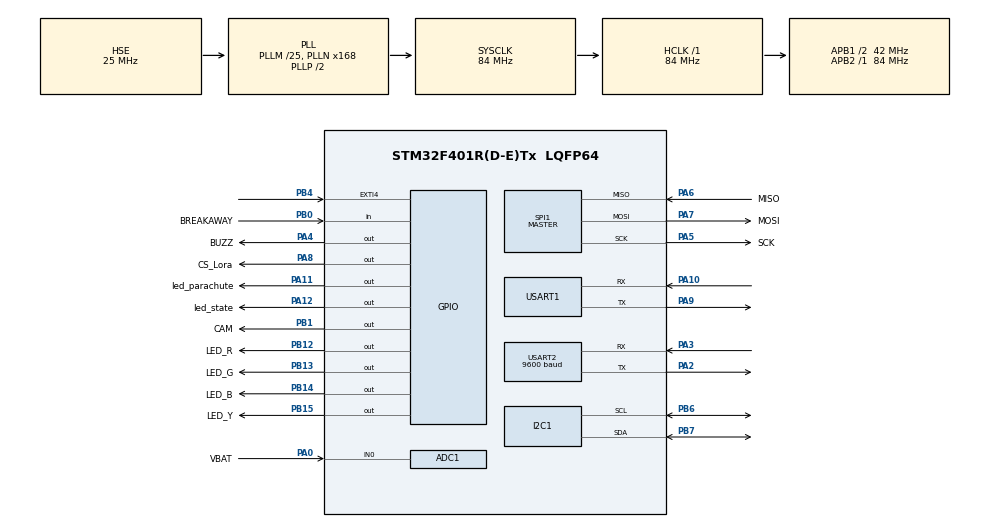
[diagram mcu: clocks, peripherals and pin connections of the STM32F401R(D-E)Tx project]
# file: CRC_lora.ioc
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ADC1.Channel-0\#ChannelRegularConversion=ADC_CHANNEL_0
ADC1.ClockPrescaler=ADC_CLOCK_SYNC_PCLK_DIV8
ADC1.ContinuousConvMode=ENABLE
ADC1.NbrOfConversionFlag=1
ADC1.Rank-0\#ChannelRegularConversion=1
ADC1.SamplingTime-0\#ChannelRegularConversion=ADC_SAMPLETIME_3CYCLES
ADC1.master=1
Dma.I2C1_RX.1.Direction=DMA_PERIPH_TO_MEMORY
Dma.I2C1_RX.1.FIFOMode=DMA_FIFOMODE_DISABLE
Dma.I2C1_RX.1.Instance=DMA1_Stream0
Dma.I2C1_RX.1.MemDataAlignment=DMA_MDATAALIGN_BYTE
Dma.I2C1_RX.1.MemInc=DMA_MINC_ENABLE
Dma.I2C1_RX.1.Mode=DMA_NORMAL
Dma.I2C1_RX.1.PeriphDataAlignment=DMA_PDATAALIGN_BYTE
Dma.I2C1_RX.1.PeriphInc=DMA_PINC_DISABLE
Dma.I2C1_RX.1.Priority=DMA_PRIORITY_LOW
Dma.Request0=USART2_RX
Dma.Request1=I2C1_RX
Dma.USART2_RX.0.Direction=DMA_PERIPH_TO_MEMORY
Dma.USART2_RX.0.FIFOMode=DMA_FIFOMODE_DISABLE
Dma.USART2_RX.0.Instance=DMA1_Stream5
Dma.USART2_RX.0.MemDataAlignment=DMA_MDATAALIGN_BYTE
Dma.USART2_RX.0.MemInc=DMA_MINC_ENABLE
Dma.USART2_RX.0.Mode=DMA_CIRCULAR
Dma.USART2_RX.0.PeriphDataAlignment=DMA_PDATAALIGN_BYTE
Dma.USART2_RX.0.PeriphInc=DMA_PINC_DISABLE
Dma.USART2_RX.0.Priority=DMA_PRIORITY_LOW
Mcu.Family=STM32F4
Mcu.Name=STM32F401R(D-E)Tx
Mcu.Package=LQFP64
NVIC.DMA1_Stream0_IRQn=true\:0\:0\:false\:false\:true\:false\:true\:true
NVIC.DMA1_Stream5_IRQn=true\:0\:0\:false\:false\:true\:false\:true\:true
NVIC.I2C1_EV_IRQn=true\:0\:0\:false\:false\:true\:true\:true\:true
NVIC.PriorityGroup=NVIC_PRIORITYGROUP_4
NVIC.TIM3_IRQn=true\:1\:0\:true\:false\:true\:true\:true\:true
NVIC.USART1_IRQn=true\:0\:0\:false\:false\:true\:true\:true\:true
NVIC.USART2_IRQn=true\:0\:0\:false\:false\:true\:true\:true\:true
PA0-WKUP.GPIO_Label=VBAT
PA0-WKUP.Signal=ADCx_IN0
PA10.Mode=Asynchronous
PA10.Signal=USART1_RX
PA11.GPIO_Label=led_parachute
PA11.Signal=GPIO_Output
PA12.GPIO_Label=led_state
PA12.Signal=GPIO_Output
PA13.Mode=Serial_Wire
PA13.Signal=SYS_JTMS-SWDIO
PA14.Mode=Serial_Wire
PA14.Signal=SYS_JTCK-SWCLK
PA2.Mode=Asynchronous
PA2.Signal=USART2_TX
PA3.Mode=Asynchronous
PA3.Signal=USART2_RX
PA4.GPIO_Label=BUZZ
PA4.Signal=GPIO_Output
PA5.GPIO_Label=SCK
PA5.Mode=Full_Duplex_Master
PA5.Signal=SPI1_SCK
PA6.GPIO_Label=MISO
PA6.Mode=Full_Duplex_Master
PA6.Signal=SPI1_MISO
PA7.GPIO_Label=MOSI
PA7.Mode=Full_Duplex_Master
PA7.Signal=SPI1_MOSI
PA8.GPIO_Label=CS_Lora
PA8.PinState=GPIO_PIN_SET
PA8.Signal=GPIO_Output
PA9.Mode=Asynchronous
PA9.Signal=USART1_TX
PB0.GPIO_Label=BREAKAWAY
PB0.GPIO_PuPd=GPIO_PULLUP
PB0.Signal=GPIO_Input
PB1.GPIO_Label=CAM
PB1.Signal=GPIO_Output
PB12.GPIO_Label=LED_R
PB12.Signal=GPIO_Output
PB13.GPIO_Label=LED_G
PB13.Signal=GPIO_Output
PB14.GPIO_Label=LED_B
PB14.Signal=GPIO_Output
PB15.GPIO_Label=LED_Y
PB15.Signal=GPIO_Output
PB4.Signal=GPXTI4
PB6.GPIO_Pu=GPIO_PULLUP
PB6.Mode=I2C
PB6.Signal=I2C1_SCL
PB7.GPIO_Pu=GPIO_PULLUP
PB7.Mode=I2C
PB7.Signal=I2C1_SDA
PH0\ -\ OSC_IN.Mode=HSE-External-Oscillator
PH0\ -\ OSC_IN.Signal=RCC_OSC_IN
PH1\ -\ OSC_OUT.Mode=HSE-External-Oscillator
PH1\ -\ OSC_OUT.Signal=RCC_OSC_OUT
ProjectManager.HeapSize=0x200
ProjectManager.StackSize=0x400
ProjectManager.TargetToolchain=STM32CubeIDE
RCC.48MHZClocksFreq_Value=42000000
RCC.AHBFreq_Value=84000000
RCC.APB1CLKDivider=RCC_HCLK_DIV2
RCC.APB1Freq_Value=42000000
RCC.APB1TimFreq_Value=84000000
RCC.APB2Freq_Value=84000000
RCC.APB2TimFreq_Value=84000000
RCC.CortexFreq_Value=84000000
RCC.HCLKFreq_Value=84000000
RCC.HSE_VALUE=25000000
RCC.HSI_VALUE=16000000
RCC.LSE_VALUE=32768
RCC.PLLM=25
RCC.PLLN=168
RCC.PLLSourceVirtual=RCC_PLLSOURCE_HSE
RCC.SYSCLKFreq_VALUE=84000000
RCC.SYSCLKSource=RCC_SYSCLKSOURCE_PLLCLK
RCC.VCOOutputFreq_Value=168000000
SH.ADCx_IN0.0=ADC1_IN0,IN0
SPI1.BaudRatePrescaler=SPI_BAUDRATEPRESCALER_8
SPI1.Direction=SPI_DIRECTION_2LINES
SPI1.Mode=SPI_MODE_MASTER
SPI1.VirtualType=VM_MASTER
TIM3.Channel-PWM\ Generation3\ CH3=TIM_CHANNEL_3
TIM3.Period=19999
TIM3.Prescaler=83
USART1.VirtualMode=VM_ASYNC
USART2.BaudRate=9600
USART2.VirtualMode=VM_ASYNC
VP_TIM3_VS_ClockSourceINT.Mode=Internal
board=custom

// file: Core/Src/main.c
/* USER CODE BEGIN Header */
/**
  ******************************************************************************
  * @file           : main.c
  * @brief          : Main program body
  ******************************************************************************
  * @attention
  *
  * Copyright (c) 2026 STMicroelectronics.
  * All rights reserved.
  *
  * This software is licensed under terms that can be found in the LICENSE file
  * in the root directory of this software component.
  * If no LICENSE file comes with this software, it is provided AS-IS.
  *
  ******************************************************************************
  */
/* USER CODE END Header */
#include "main.h"

/* USER CODE BEGIN Includes */
#include "FlightComputer.h"
#include <string.h>
#include <stdio.h>

#include "minmea.h"
#include "gps.h"
/* USER CODE END Includes */

ADC_HandleTypeDef hadc1;

I2C_HandleTypeDef hi2c1;
DMA_HandleTypeDef hdma_i2c1_rx;

SPI_HandleTypeDef hspi1;

TIM_HandleTypeDef htim3;

UART_HandleTypeDef huart1;
UART_HandleTypeDef huart2;
DMA_HandleTypeDef hdma_usart2_rx;

/* USER CODE BEGIN PV */
char gps_line[MINMEA_MAX_SENTENCE_LENGTH];
uint8_t gps_char;
uint8_t gps_idx = 0;

uint32_t time_buff;
uint32_t time_diff;

uint8_t read_data[128];
uint8_t received_data[128];
uint8_t bytesRecv = 0;
uint8_t parachuteCnt = 0;

#define GPS_BUF_SIZE 128
uint8_t gps_raw_data[GPS_BUF_SIZE];

FlightComputer flight_computer;

uint8_t uart_rx_buffer[40] = {0};
volatile uint8_t new_data_flag = 0;
/* USER CODE END PV */

void SystemClock_Config(void);
static void MX_GPIO_Init(void);
static void MX_DMA_Init(void);
static void MX_SPI1_Init(void);
static void MX_USART1_UART_Init(void);
static void MX_I2C1_Init(void);
static void MX_USART2_UART_Init(void);
static void MX_TIM3_Init(void);
static void MX_ADC1_Init(void);

int main(void)
{

  /* MCU Configuration--------------------------------------------------------*/

  /* Reset of all peripherals, Initializes the Flash interface and the Systick. */
  HAL_Init();

  /* Configure the system clock */
  SystemClock_Config();

  /* Initialize all configured peripherals */
  MX_GPIO_Init();
  MX_DMA_Init();
  MX_SPI1_Init();
  MX_USART1_UART_Init();
  MX_I2C1_Init();
  MX_USART2_UART_Init();
  MX_TIM3_Init();
  MX_ADC1_Init();
  /* USER CODE BEGIN 2 */
  HAL_GPIO_WritePin(led_state_GPIO_Port, led_state_Pin, GPIO_PIN_SET);
  HAL_Delay(1000);
  FlightComputer_init(&flight_computer, &hspi1, CS_Lora_GPIO_Port, CS_Lora_Pin, &hi2c1, &hadc1, &huart1, &huart2);
  HAL_GPIO_WritePin(led_state_GPIO_Port, led_state_Pin, GPIO_PIN_RESET);

  /* USER CODE END 2 */

  /* Infinite loop */
  /* USER CODE BEGIN WHILE */
  while (1)
  {
	  FlightComputer_loop(&flight_computer);

    /* USER CODE END WHILE */

  }
}

void SystemClock_Config(void)
{
  RCC_OscInitTypeDef RCC_OscInitStruct = {0};
  RCC_ClkInitTypeDef RCC_ClkInitStruct = {0};

  /** Configure the main internal regulator output voltage
  */
  __HAL_RCC_PWR_CLK_ENABLE();
  __HAL_PWR_VOLTAGESCALING_CONFIG(PWR_REGULATOR_VOLTAGE_SCALE2);

  /** Initializes the RCC Oscillators according to the specified parameters
  * in the RCC_OscInitTypeDef structure.
  */
  RCC_OscInitStruct.OscillatorType = RCC_OSCILLATORTYPE_HSE;
  RCC_OscInitStruct.HSEState = RCC_HSE_ON;
  RCC_OscInitStruct.PLL.PLLState = RCC_PLL_ON;
  RCC_OscInitStruct.PLL.PLLSource = RCC_PLLSOURCE_HSE;
  RCC_OscInitStruct.PLL.PLLM = 25;
  RCC_OscInitStruct.PLL.PLLN = 168;
  RCC_OscInitStruct.PLL.PLLP = RCC_PLLP_DIV2;
  RCC_OscInitStruct.PLL.PLLQ = 4;
  if (HAL_RCC_OscConfig(&RCC_OscInitStruct) != HAL_OK)
  {
    Error_Handler();
  }

  /** Initializes the CPU, AHB and APB buses clocks
  */
  RCC_ClkInitStruct.ClockType = RCC_CLOCKTYPE_HCLK|RCC_CLOCKTYPE_SYSCLK
                              |RCC_CLOCKTYPE_PCLK1|RCC_CLOCKTYPE_PCLK2;
  RCC_ClkInitStruct.SYSCLKSource = RCC_SYSCLKSOURCE_PLLCLK;
  RCC_ClkInitStruct.AHBCLKDivider = RCC_SYSCLK_DIV1;
  RCC_ClkInitStruct.APB1CLKDivider = RCC_HCLK_DIV2;
  RCC_ClkInitStruct.APB2CLKDivider = RCC_HCLK_DIV1;

  if (HAL_RCC_ClockConfig(&RCC_ClkInitStruct, FLASH_LATENCY_2) != HAL_OK)
  {
    Error_Handler();
  }
}

static void MX_ADC1_Init(void)
{

  ADC_ChannelConfTypeDef sConfig = {0};

  /** Configure the global features of the ADC (Clock, Resolution, Data Alignment and number of conversion)
  */
  hadc1.Instance = ADC1;
  hadc1.Init.ClockPrescaler = ADC_CLOCK_SYNC_PCLK_DIV8;
  hadc1.Init.Resolution = ADC_RESOLUTION_12B;
  hadc1.Init.ScanConvMode = DISABLE;
  hadc1.Init.ContinuousConvMode = ENABLE;
  hadc1.Init.DiscontinuousConvMode = DISABLE;
  hadc1.Init.ExternalTrigConvEdge = ADC_EXTERNALTRIGCONVEDGE_NONE;
  hadc1.Init.ExternalTrigConv = ADC_SOFTWARE_START;
  hadc1.Init.DataAlign = ADC_DATAALIGN_RIGHT;
  hadc1.Init.NbrOfConversion = 1;
  hadc1.Init.DMAContinuousRequests = DISABLE;
  hadc1.Init.EOCSelection = ADC_EOC_SINGLE_CONV;
  if (HAL_ADC_Init(&hadc1) != HAL_OK)
  {
    Error_Handler();
  }

  /** Configure for the selected ADC regular channel its corresponding rank in the sequencer and its sample time.
  */
  sConfig.Channel = ADC_CHANNEL_0;
  sConfig.Rank = 1;
  sConfig.SamplingTime = ADC_SAMPLETIME_3CYCLES;
  if (HAL_ADC_ConfigChannel(&hadc1, &sConfig) != HAL_OK)
  {
    Error_Handler();
  }

}

static void MX_I2C1_Init(void)
{

  hi2c1.Instance = I2C1;
  hi2c1.Init.ClockSpeed = 100000;
  hi2c1.Init.DutyCycle = I2C_DUTYCYCLE_2;
  hi2c1.Init.OwnAddress1 = 0;
  hi2c1.Init.AddressingMode = I2C_ADDRESSINGMODE_7BIT;
  hi2c1.Init.DualAddressMode = I2C_DUALADDRESS_DISABLE;
  hi2c1.Init.OwnAddress2 = 0;
  hi2c1.Init.GeneralCallMode = I2C_GENERALCALL_DISABLE;
  hi2c1.Init.NoStretchMode = I2C_NOSTRETCH_DISABLE;
  if (HAL_I2C_Init(&hi2c1) != HAL_OK)
  {
    Error_Handler();
  }

}

static void MX_SPI1_Init(void)
{

  /* SPI1 parameter configuration*/
  hspi1.Instance = SPI1;
  hspi1.Init.Mode = SPI_MODE_MASTER;
  hspi1.Init.Direction = SPI_DIRECTION_2LINES;
  hspi1.Init.DataSize = SPI_DATASIZE_8BIT;
  hspi1.Init.CLKPolarity = SPI_POLARITY_LOW;
  hspi1.Init.CLKPhase = SPI_PHASE_1EDGE;
  hspi1.Init.NSS = SPI_NSS_SOFT;
  hspi1.Init.BaudRatePrescaler = SPI_BAUDRATEPRESCALER_8;
  hspi1.Init.FirstBit = SPI_FIRSTBIT_MSB;
  hspi1.Init.TIMode = SPI_TIMODE_DISABLE;
  hspi1.Init.CRCCalculation = SPI_CRCCALCULATION_DISABLE;
  hspi1.Init.CRCPolynomial = 10;
  if (HAL_SPI_Init(&hspi1) != HAL_OK)
  {
    Error_Handler();
  }

}

static void MX_TIM3_Init(void)
{

  TIM_ClockConfigTypeDef sClockSourceConfig = {0};
  TIM_MasterConfigTypeDef sMasterConfig = {0};

  htim3.Instance = TIM3;
  htim3.Init.Prescaler = 83;
  htim3.Init.CounterMode = TIM_COUNTERMODE_UP;
  htim3.Init.Period = 19999;
  htim3.Init.ClockDivision = TIM_CLOCKDIVISION_DIV1;
  htim3.Init.AutoReloadPreload = TIM_AUTORELOAD_PRELOAD_DISABLE;
  if (HAL_TIM_Base_Init(&htim3) != HAL_OK)
  {
    Error_Handler();
  }
  sClockSourceConfig.ClockSource = TIM_CLOCKSOURCE_INTERNAL;
  if (HAL_TIM_ConfigClockSource(&htim3, &sClockSourceConfig) != HAL_OK)
  {
    Error_Handler();
  }
  sMasterConfig.MasterOutputTrigger = TIM_TRGO_RESET;
  sMasterConfig.MasterSlaveMode = TIM_MASTERSLAVEMODE_DISABLE;
  if (HAL_TIMEx_MasterConfigSynchronization(&htim3, &sMasterConfig) != HAL_OK)
  {
    Error_Handler();
  }

}

static void MX_USART1_UART_Init(void)
{

  huart1.Instance = USART1;
  huart1.Init.BaudRate = 115200;
  huart1.Init.WordLength = UART_WORDLENGTH_8B;
  huart1.Init.StopBits = UART_STOPBITS_1;
  huart1.Init.Parity = UART_PARITY_NONE;
  huart1.Init.Mode = UART_MODE_TX_RX;
  huart1.Init.HwFlowCtl = UART_HWCONTROL_NONE;
  huart1.Init.OverSampling = UART_OVERSAMPLING_16;
  if (HAL_UART_Init(&huart1) != HAL_OK)
  {
    Error_Handler();
  }

}

static void MX_USART2_UART_Init(void)
{

  huart2.Instance = USART2;
  huart2.Init.BaudRate = 9600;
  huart2.Init.WordLength = UART_WORDLENGTH_8B;
  huart2.Init.StopBits = UART_STOPBITS_1;
  huart2.Init.Parity = UART_PARITY_NONE;
  huart2.Init.Mode = UART_MODE_TX_RX;
  huart2.Init.HwFlowCtl = UART_HWCONTROL_NONE;
  huart2.Init.OverSampling = UART_OVERSAMPLING_16;
  if (HAL_UART_Init(&huart2) != HAL_OK)
  {
    Error_Handler();
  }

}

static void MX_DMA_Init(void)
{

  /* DMA controller clock enable */
  __HAL_RCC_DMA1_CLK_ENABLE();

  /* DMA interrupt init */
  /* DMA1_Stream0_IRQn interrupt configuration */
  HAL_NVIC_SetPriority(DMA1_Stream0_IRQn, 0, 0);
  HAL_NVIC_EnableIRQ(DMA1_Stream0_IRQn);
  /* DMA1_Stream5_IRQn interrupt configuration */
  HAL_NVIC_SetPriority(DMA1_Stream5_IRQn, 0, 0);
  HAL_NVIC_EnableIRQ(DMA1_Stream5_IRQn);

}

static void MX_GPIO_Init(void)
{
  GPIO_InitTypeDef GPIO_InitStruct = {0};

  /* GPIO Ports Clock Enable */
  __HAL_RCC_GPIOH_CLK_ENABLE();
  __HAL_RCC_GPIOA_CLK_ENABLE();
  __HAL_RCC_GPIOB_CLK_ENABLE();

  /*Configure GPIO pin Output Level */
  HAL_GPIO_WritePin(GPIOA, BUZZ_Pin|led_parachute_Pin|led_state_Pin, GPIO_PIN_RESET);

  /*Configure GPIO pin Output Level */
  HAL_GPIO_WritePin(GPIOB, CAM_Pin|LED_R_Pin|LED_G_Pin|LED_B_Pin
                          |LED_Y_Pin, GPIO_PIN_RESET);

  /*Configure GPIO pin Output Level */
  HAL_GPIO_WritePin(CS_Lora_GPIO_Port, CS_Lora_Pin, GPIO_PIN_SET);

  /*Configure GPIO pins : BUZZ_Pin CS_Lora_Pin led_parachute_Pin led_state_Pin */
  GPIO_InitStruct.Pin = BUZZ_Pin|CS_Lora_Pin|led_parachute_Pin|led_state_Pin;
  GPIO_InitStruct.Mode = GPIO_MODE_OUTPUT_PP;
  GPIO_InitStruct.Pull = GPIO_NOPULL;
  GPIO_InitStruct.Speed = GPIO_SPEED_FREQ_LOW;
  HAL_GPIO_Init(GPIOA, &GPIO_InitStruct);

  /*Configure GPIO pin : BREAKAWAY_Pin */
  GPIO_InitStruct.Pin = BREAKAWAY_Pin;
  GPIO_InitStruct.Mode = GPIO_MODE_INPUT;
  GPIO_InitStruct.Pull = GPIO_PULLUP;
  HAL_GPIO_Init(BREAKAWAY_GPIO_Port, &GPIO_InitStruct);

  /*Configure GPIO pins : CAM_Pin LED_R_Pin LED_G_Pin LED_B_Pin
                           LED_Y_Pin */
  GPIO_InitStruct.Pin = CAM_Pin|LED_R_Pin|LED_G_Pin|LED_B_Pin
                          |LED_Y_Pin;
  GPIO_InitStruct.Mode = GPIO_MODE_OUTPUT_PP;
  GPIO_InitStruct.Pull = GPIO_NOPULL;
  GPIO_InitStruct.Speed = GPIO_SPEED_FREQ_LOW;
  HAL_GPIO_Init(GPIOB, &GPIO_InitStruct);

  /*Configure GPIO pin : PB4 */
  GPIO_InitStruct.Pin = GPIO_PIN_4;
  GPIO_InitStruct.Mode = GPIO_MODE_IT_RISING;
  GPIO_InitStruct.Pull = GPIO_NOPULL;
  HAL_GPIO_Init(GPIOB, &GPIO_InitStruct);

}

/* USER CODE BEGIN 4 */
void HAL_UART_RxCpltCallback(UART_HandleTypeDef *huart) {
    if (huart->Instance == USART1) {
    	new_data_flag = 1;
        HAL_UART_Receive_IT(&huart1, uart_rx_buffer, 40);
    }
}

/* USER CODE END 4 */

void Error_Handler(void)
{
  __disable_irq();
  while (1)
  {
  }
}
